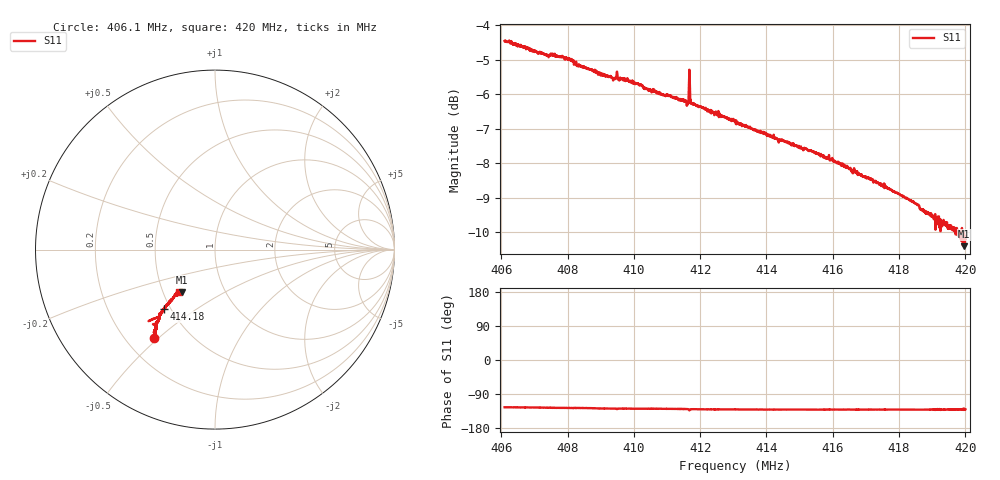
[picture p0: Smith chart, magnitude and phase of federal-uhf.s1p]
! Calibrated averaged scanner-service zoom
# Hz S RI R 50
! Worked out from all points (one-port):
!   2001 points, 406.1 MHz to 420 MHz, reference 50 ohm
!   lowest |S11| = -10.4 dB at 419.94 MHz (marker M1), VSWR 1.86, Z = 31.1 - j16.3 ohm
!   |S11| at or under -10 dB: 419.7665 MHz to 419.7962 MHz (29.66 kHz wide, 0.00707 % of centre); 419.8251 MHz to 419.8604 MHz (35.32 kHz wide, 0.00841 % of centre); 419.9011 MHz to end of sweep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
!   S11 on the Smith chart (normalised r, x): 406.1 MHz: 0.31, -0.48; 414.18 MHz: 0.46, -0.37; 420 MHz: 0.61, -0.32
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4.061e8  -0.3408 -0.4927
4.07073e8  -0.3331 -0.4712
4.073718e8  -0.335 -0.4645
4.078375e8  -0.3379 -0.4592
4.081086e8  -0.3343 -0.4502
4.083448e8  -0.3296 -0.4408
4.089773e8  -0.3286 -0.4233
4.093943e8  -0.3268 -0.4135
4.094638e8  -0.328 -0.4154
4.09575e8  -0.3258 -0.4125
4.101588e8  -0.3231 -0.4055
4.103742e8  -0.3184 -0.3993
4.113125e8  -0.3115 -0.3831
4.115766e8  -0.312 -0.3786
4.116252e8  -0.31 -0.3722
4.117086e8  -0.3123 -0.3736
4.117295e8  -0.311 -0.3735
4.117782e8  -0.3107 -0.3732
4.1305e8  -0.2995 -0.3472
4.141759e8  -0.2849 -0.3293
4.147875e8  -0.2761 -0.32
4.159412e8  -0.2635 -0.3038
4.16525e8  -0.2559 -0.2957
4.182625e8  -0.2307 -0.2677
4.19166e8  -0.2101 -0.251
4.196803e8  -0.2093 -0.2413
4.199444e8  -0.1859 -0.2378
4.2e8  -0.1992 -0.2364
